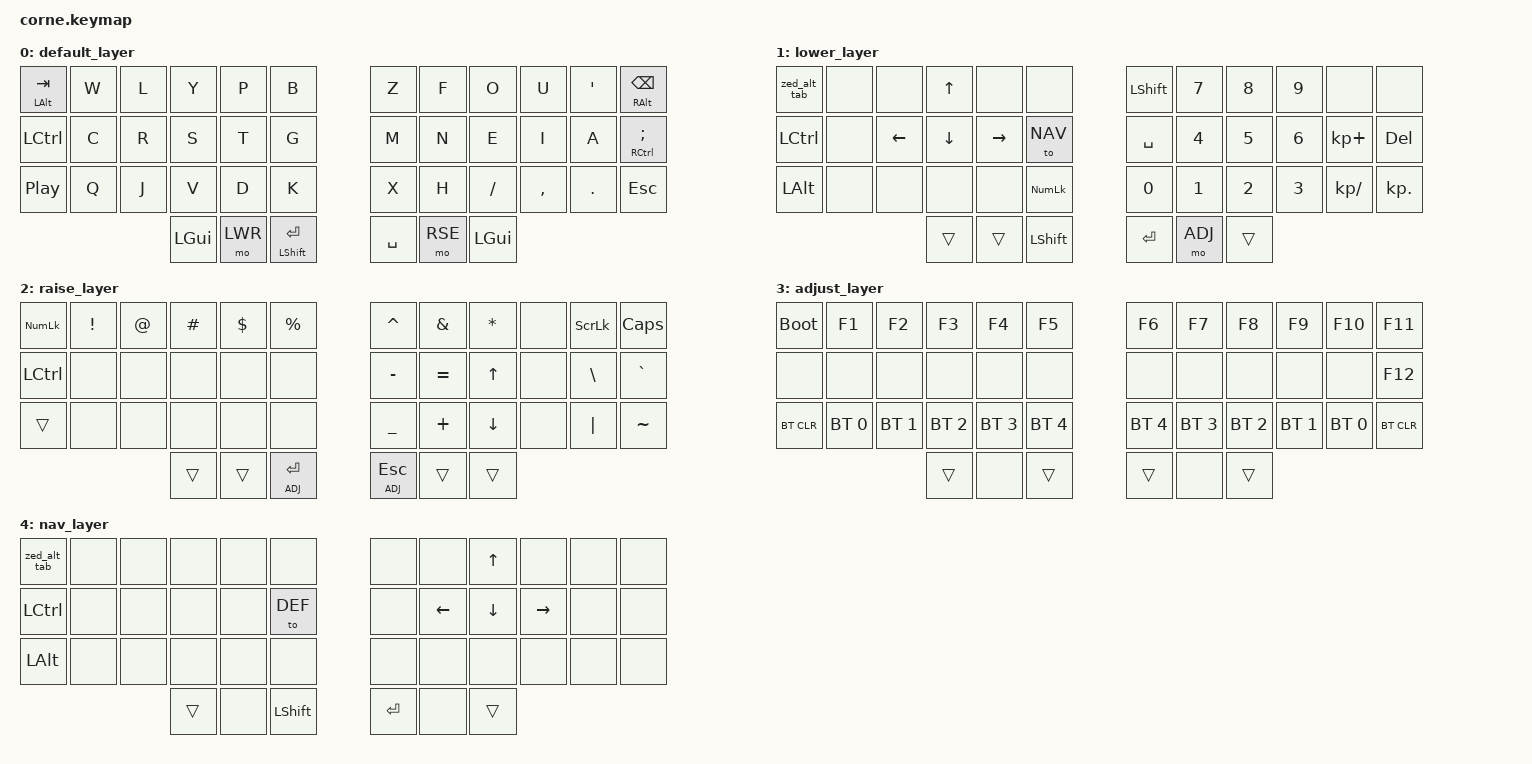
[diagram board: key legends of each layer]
/*
 * Copyright (c) 2020 The ZMK Contributors
 *
 * SPDX-License-Identifier: MIT
 */

#include <behaviors.dtsi>
#include <dt-bindings/zmk/bt.h>
#include <dt-bindings/zmk/keys.h>

#define DEF 0
#define LWR 1
#define RSE 2
#define ADJ 3
#define NAV 4

&mt {
    tapping-term-ms = <300>;
};

&lt {
    quick_tap_ms = <200>;
};

/ {
    macros {
        zed_alt_tab: zed_alt_tab {
            label = "ZM_zed_alt_tab";
            compatible = "zmk,behavior-macro";
            #binding-cells = <0>;
            bindings =
                <&macro_press>,
                <&kp LALT>,
                <&macro_tap>,
                <&kp TAB>,
                <&macro_release>,
                <&kp LALT>;
        };

        zed_rub_out: zed_rub_out {
            label = "ZM_zed_rub_out";
            compatible = "zmk,behavior-macro";
            #binding-cells = <0>;
            bindings =
                <&macro_press>,
                <&kp LCTRL>,
                <&macro_tap>,
                <&kp BSPC>,
                <&macro_release>,
                <&kp LCTRL>;
        };

        zed_assignment: zed_assignment {
            label = "ZM_zed_assignment";
            compatible = "zmk,behavior-macro";
            #binding-cells = <0>;
            bindings = <&macro_tap>, <&kp COLON>, <&macro_tap>, <&kp EQUAL>, <&kp SPACE>;
        };
    };
};

/ {
    combos {
        compatible = "zmk,combos";

        combo_PROGRAM {
            timeout-ms = <45>;
            key-positions = <4 6>;
            bindings = <&kp P>, <&kp R>, <&kp O>, <&kp G>, <&kp R>, <&kp A>, <&kp M>, <&kp SPACE>;
        };

        combo_EQUAL {
            timeout-ms = <45>;
            key-positions = <1 10>;
            bindings = <&kp EQUAL>;
        };

        combo_ASSIGNMENT {
            timeout-ms = <45>;
            key-positions = <5 6>;
            bindings = <&zed_assignment>;
        };

        combo_LPAR {
            timeout-ms = <71>;
            key-positions = <1 13>;
            bindings = <&kp LPAR>;
        };

        combo_RPAR {
            timeout-ms = <71>;
            key-positions = <7 19>;
            bindings = <&kp RPAR>;
        };

        combo_LCURLY {
            timeout-ms = <71>;
            key-positions = <4 16>;
            bindings = <&kp LEFT_BRACE>;
        };

        combo_RCURLY {
            timeout-ms = <71>;
            key-positions = <22 10>;
            bindings = <&kp RIGHT_BRACE>;
        };

        combo_LBRACKET {
            timeout-ms = <71>;
            key-positions = <3 15>;
            bindings = <&kp LEFT_BRACKET>;
        };

        combo_RBRACKET {
            timeout-ms = <71>;
            key-positions = <9 21>;
            bindings = <&kp RIGHT_BRACKET>;
        };

        combo_LESSTHAN {
            timeout-ms = <71>;
            key-positions = <2 14>;
            bindings = <&kp LESS_THAN>;
        };

        combo_GREATERTHAN {
            timeout-ms = <71>;
            key-positions = <8 20>;
            bindings = <&kp GREATER_THAN>;
        };

        combo_PAGEUP {
            timeout-ms = <50>;
            key-positions = <6 7>;
            bindings = <&kp PAGE_UP>;
        };

        combo_PAGEDOWN {
            timeout-ms = <50>;
            key-positions = <30 31>;
            bindings = <&kp PAGE_DOWN>;
        };

/*
        combo_QUOTE {
            timeout-ms = <50>;
            key-positions = <13 8>;
            bindings = <&kp SINGLE_QUOTE>;
        };
*/

        combo_DOUBLEQUOTE {
            timeout-ms = <50>;
            key-positions = <13 9>;
            bindings = <&kp DOUBLE_QUOTES>;
        };

        combo_HOME {
            timeout-ms = <50>;
            key-positions = <6 7 8>;
            bindings = <&kp HOME>;
        };

        combo_END {
            timeout-ms = <70>;
            key-positions = <30 31 32>;
            bindings = <&kp END>;
        };

        combo_RUBOUT {
            timeout-ms = <45>;
            key-positions = <16 17>;
            bindings = <&kp LC(BSPC)>;
        };

        combo_BACKSPACE {
            timeout-ms = <45>;
            key-positions = <18 19>;
            bindings = <&kp BSPC>;
        };

        combo_RGUI {
            // This is a quick way to strike the Compose key
            // (when the Compose key is mapped to RGUI

            timeout-ms = <50>;
            key-positions = <13 14 15 16>;
            bindings = <&kp RGUI>;
        };


    };
};

/ {
    keymap {
        compatible = "zmk,keymap";

        default_layer {
            // -----------------------------------------------------------------------------------------
            // |  TAB |  W  |  L  |  Y  |  P  |  B  |   |  Z  |  F   |  O  |  U  |  '  | BKSP |
            // | CTRL |  C  |  R  |  S  |  T  |  G  |   |  M  |  N   |  E  |  I  |  A  |  '   |
            // | SHFT |  Q  |  J  |  V  |  D  |  K  |   |  X  |  H   |  /  |  ,  |  .  | ESC  |
            //                    | GUI | LWR | SPC |   | ENT | RSE  | ALT |

            bindings = <
&mt LALT TAB  &kp W  &kp L  &kp Y     &kp P  &kp B            &kp Z      &kp F  &kp O     &kp U      &kp SQT  &mt RALT BSPC
&kp LCTRL     &kp C  &kp R  &kp S     &kp T  &kp G            &kp M      &kp N  &kp E     &kp I      &kp A    &mt RCTRL SEMI
&kp C_PLAY_PAUSE     &kp Q  &kp J  &kp V     &kp D  &kp K            &kp X      &kp H  &kp FSLH  &kp COMMA  &kp DOT  &kp ESC
                            &kp LGUI  &mo LWR  &mt LSHFT RET    &kp SPACE  &mo RSE  &kp LGUI
            >;
        };

        lower_layer {
            // ---------------------------------------------------------------------------------------------
            // |  ALT/TAB |      |      |  UP   |       |      |     | SHFT |  7 | 8 |  9 |     |     |
            // |  CTRL    |      | LEFT | DOWN  | RGHT  | NAV  |     | SPC  |  4 | 5 |  6 |  +  | DEL |
            // |  LALT    |      |      |DEFAULT|       | NUM  |     |  0   |  1 | 2 |  3 |  /  |  .  |
            //                              | GUI |     | SHFT |      | ENT |     | ALT |

            bindings = <
&zed_alt_tab  &none  &none     &kp UP    &none      &none         &kp LSHFT  &kp N7  &kp N8  &kp N9  &none         &none
&kp LCTRL     &none  &kp LEFT  &kp DOWN  &kp RIGHT  &to NAV         &kp SPACE  &kp N4  &kp N5  &kp N6  &kp KP_PLUS   &kp DEL
&kp LALT      &none  &none     &none     &none      &kp KP_NUM    &kp N0     &kp N1  &kp N2  &kp N3  &kp KP_SLASH  &kp KP_DOT
                               &trans    &trans     &kp LSHFT     &kp ENTER  &mo ADJ &trans
            >;
        };

        raise_layer {
            // ---------------------------------------------------------------------------------------------------
            // | NMLK |  !  |  @  |  #  |  $  |  %  |          |  ^  |  &  |  *  |     | SCLK | CAPS |
            // | CTRL |     |     |     |     |     |          |  -  |  =  |  UP |     |  \   |   `  |
            // |      |     |     |     |     |     |          |  _  |  +  | DOWN|     |  |   |   ~  |
            //                    |     |     | ADJ |          | ADJ |     |     |

            bindings = <
&kp KP_NUM  &kp EXCL  &kp AT  &kp POUND  &kp DOLLAR  &kp PERCENT    &kp CARET    &kp AMPERSAND  &kp STAR  &none  &kp SLCK  &kp CAPS
&kp LCTRL   &none     &none   &none      &none       &none          &kp MINUS    &kp EQUAL      &kp UP    &none  &kp BSLH  &kp GRAVE
&trans      &none     &none   &none      &none       &none          &kp UNDER    &kp PLUS       &kp DOWN  &none  &kp PIPE  &kp TILDE
                              &trans     &trans      &lt ADJ RET    &lt ADJ ESC  &trans         &trans
            >;
        };

        adjust_layer {
            // -----------------------------------------------------------------------------------------
            // | BLDR |  F1 |  F2 |  F3 |  F4 |  F5 |   |  F6 |  F7 |  F8 |  F9 | F10 | F11 |
            // |      |     |     |     |     |     |   |     |     |     |     |     | F12 |
            // | BTCLR| BT0 | BT1 | BT2 | BT3 | BT4 |   | BT4 | BT3 | BT2 | BT1 | BT0 | BTCLR|
            //                          |     |     |     |   |     |     |     |

            bindings = <
&bootloader  &kp F1        &kp F2        &kp F3        &kp F4        &kp F5          &kp F6        &kp F7        &kp F8        &kp F9       &kp F10        &kp F11
&none        &none         &none         &none         &none         &none           &none         &none         &none         &none         &none         &kp F12
&bt BT_CLR   &bt BT_SEL 0  &bt BT_SEL 1  &bt BT_SEL 2  &bt BT_SEL 3  &bt BT_SEL 4    &bt BT_SEL 4  &bt BT_SEL 3  &bt BT_SEL 2  &bt BT_SEL 1  &bt BT_SEL 0  &bt BT_CLR
                                         &trans        &none         &trans          &trans        &none         &trans
            >;
        };

        nav_layer {
            // ---------------------------------------------------------------------------------------------------
            // |  ALT/TAB |      |      |       |       |      |     |     |      |  UP  |        |     |     |
            // |  CTRL    |      |      |       |       | DEF  |     |     | LEFT | DOWN |  RIGHT |     |     |
            // |  LALT    |      |      |       |       |      |     |     |      |      |        |     |     |
            //                          |       |       | SHFT |     | ENT |      |      |

            bindings = <
&zed_alt_tab  &none  &none  &none   &none    &none        &none      &none     &kp UP    &none      &none  &none
&kp LCTRL     &none  &none  &none   &none    &to DEF      &none      &kp LEFT  &kp DOWN  &kp RIGHT  &none  &none
&kp LALT      &none  &none  &none   &none    &none        &none      &none     &none     &none      &none  &none
                            &trans  &none   &kp LSHFT    &kp ENTER  &none   &trans
            >;
        };
    };
};
